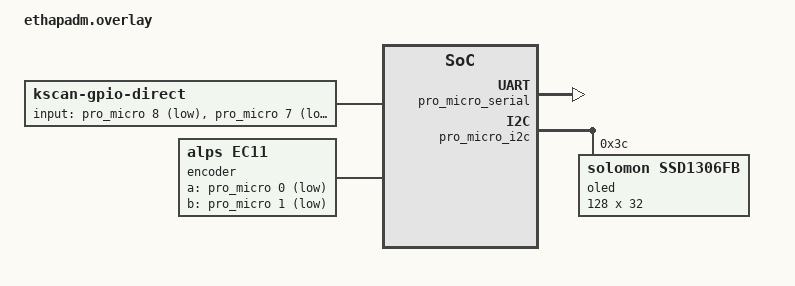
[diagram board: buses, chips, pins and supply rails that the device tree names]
/*
 * Copyright (c) 2026 The ZMK Contributors
 *
 * SPDX-License-Identifier: MIT5555555555555555555555555555555444444
 */

#include <dt-bindings/zmk/matrix_transform.h>

/ {
    chosen {
        zephyr,display = &oled;
        zmk,kscan = &kscan;
        zmk,matrix-transform = &default_transform;
    };

    kscan: kscan {
        compatible = "zmk,kscan-gpio-direct";
        wakeup-source;

        input-gpios
            = <&pro_micro 8  (GPIO_ACTIVE_LOW | GPIO_PULL_UP)>  // Button 1 - D8
            , <&pro_micro 7  (GPIO_ACTIVE_LOW | GPIO_PULL_UP)>  // Button 2 - D7
            , <&pro_micro 6  (GPIO_ACTIVE_LOW | GPIO_PULL_UP)>  // Button 3 - D6
            , <&pro_micro 15 (GPIO_ACTIVE_LOW | GPIO_PULL_UP)>  // Button 4 - D15
            , <&pro_micro 14 (GPIO_ACTIVE_LOW | GPIO_PULL_UP)>  // Button 5 - D14
            , <&pro_micro 16 (GPIO_ACTIVE_LOW | GPIO_PULL_UP)>  // Button 6 - D16
            , <&pro_micro 10 (GPIO_ACTIVE_LOW | GPIO_PULL_UP)>  // Button 7 - D10
            , <&pro_micro 4  (GPIO_ACTIVE_LOW | GPIO_PULL_UP)>  // Button 8 - D4
            ;
    };

    default_transform: keymap_transform_0 {
        compatible = "zmk,matrix-transform";
        columns = <8>;
        rows = <1>;
        map = <
            RC(0,0) RC(0,1) RC(0,2) RC(0,3) RC(0,4) RC(0,5) RC(0,6) RC(0,7)
        >;
    };

    encoder: encoder {
        compatible = "alps,ec11";
        a-gpios = <&pro_micro 0 (GPIO_ACTIVE_LOW | GPIO_PULL_UP)>;  // D1 (Encoder A)
        b-gpios = <&pro_micro 1 (GPIO_ACTIVE_LOW | GPIO_PULL_UP)>;  // D0 (Encoder B)
        steps = <80>;
        status = "okay";
    };

    sensors: sensors {
        compatible = "zmk,keymap-sensors";
        sensors = <&encoder>;
        triggers-per-rotation = <20>;
    };

    wired_split {
        compatible = "zmk,wired-split";
        device = <&pro_micro_serial>;
    };
};

&pro_micro_serial {
    status = "okay";
};

&pro_micro_i2c {
    status = "okay";

    oled: ssd1306@3c {
        compatible = "solomon,ssd1306fb";
        reg = <0x3c>;
        width = <128>;
        height = <32>;
        segment-offset = <0>;
        page-offset = <0>;
        display-offset = <0>;
        multiplex-ratio = <31>;
        segment-remap;
        com-invdir;
        com-sequential;
        inversion-on;
        prechargep = <0x22>;
    };
};
